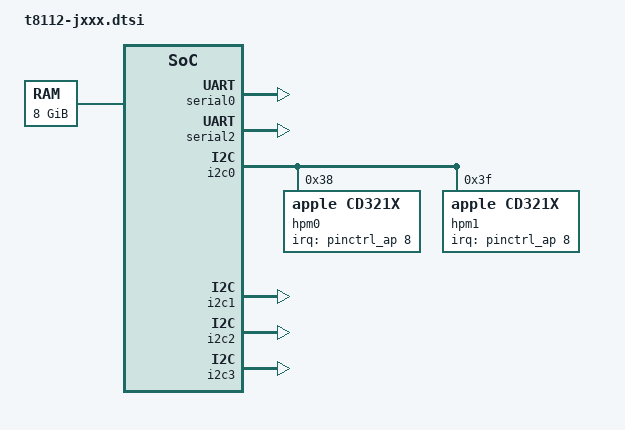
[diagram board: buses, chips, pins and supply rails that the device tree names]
/ {
	aliases {
		serial0 = &serial0;
		serial2 = &serial2;
	};
	chosen {
		#address-cells = <2>;
		#size-cells = <2>;
		ranges;
		stdout-path = "serial0";
		framebuffer0: framebuffer@0 {
			compatible = "apple,simple-framebuffer", "simple-framebuffer";
			reg = <0 0 0 0>;  
			status = "disabled";
		};
	};
	memory@800000000 {
		device_type = "memory";
		reg = <0x8 0 0x2 0>;  
	};
};
&serial0 {
	status = "okay";
};
&serial2 {
	status = "okay";
};
&i2c0 {
	status = "okay";
	hpm0: usb-pd@38 {
		compatible = "apple,cd321x";
		reg = <0x38>;
		interrupt-parent = <&pinctrl_ap>;
		interrupts = <8 IRQ_TYPE_LEVEL_LOW>;
		interrupt-names = "irq";
	};
	hpm1: usb-pd@3f {
		compatible = "apple,cd321x";
		reg = <0x3f>;
		interrupt-parent = <&pinctrl_ap>;
		interrupts = <8 IRQ_TYPE_LEVEL_LOW>;
		interrupt-names = "irq";
	};
};
&i2c1 {
	status = "okay";
};
&i2c2 {
	status = "okay";
};
&i2c3 {
	status = "okay";
};
&nco_clkref {
	clock-frequency = <900000000>;
};
